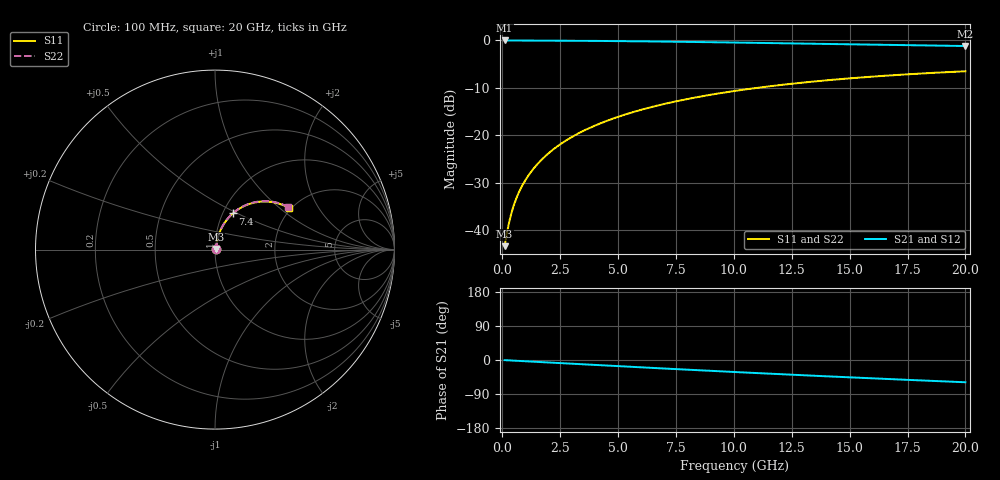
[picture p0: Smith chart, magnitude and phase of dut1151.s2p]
! Touchstone file exported from HFSS 2026.1.0
!  File:  C:/ffzhzh/LocalFiles/Ansys_Project_Files/temp_train_BSMRDL_1151_1783175642_18472.aedt
!  Generated:  10:35:33 PM Jul  4, 2026
!  Design:  BSMRDL
!  Project:  temp_train_BSMRDL_1151_1783175642_18472
! Variables:
!  h_bsmrdl = 2.23um
!  h_ox = 20um
!  h_rdl = 5um
!  h_sub = 80um
!  h_tmrdl = 5um
!  h_tsv = 80um
!  h_via = 3um
!  l_bsmrdl = 911.25um
!  l_sub = 1311.25um
!  l_tmrdl = 200um
!  m_sub = 200um
!  pitch = 52.56um
!  r_tsv = 6um
!  s_tmrdl = 10um
!  w_bsmrdl = 26.22um
!  w_sub = 500um
!  w_tmrdl = 12um
!  x_tsv_center1 = 206um
!  x_tsv_center2 = 1143.47um
!  x_tsv_center3 = 1355.47um
!  x_tsv_center4 = 2292.94um
!  x_tsv_center5 = 2504.94um
!  x_tsv_center6 = 3442.41um
# GHz S MA R 50.000000
! Terminal data exported
! Port[1] = BSM_RDL1_1_T1
! Port[2] = BSM_RDL1_1_T2
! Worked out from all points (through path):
!   200 points, 100 MHz to 20 GHz, reference 50 ohm
!   highest |S21| = -0.05 dB at 100 MHz (marker M1); lowest = -1.2 dB at 20 GHz (marker M2)
!   group delay of S21, straight-line fit = 8.17 ps
!   lowest |S11| = -43.3 dB at 100 MHz (marker M3), VSWR 1.01, Z = 50.6 + j0.363 ohm
!   |S11| at or under -10 dB: start of sweep to 11.03 GHz
!   |S22| runs from -43.3 to -6.5 dB; largest |S21 - S12| = 9.1e-15
!   S11 on the Smith chart (normalised r, x): 100 MHz: 1.01, +0.01; 7.4 GHz: 1.12, +0.47; 20 GHz: 1.94, +1.16
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0.1  0.006829 31.7  0.9942 -0.4  0.9942 -0.4  0.006829 31.7
! Gamma 0 0 0 0
! Port Impedance 50 0 50 0
0.2  0.009345 49.4  0.994 -0.7  0.994 -0.7  0.009345 49.4
0.3  0.01232 58.4  0.9937 -1.0  0.9937 -1.0  0.01232 58.4
0.4  0.0154 63.5  0.9934 -1.4  0.9934 -1.4  0.0154 63.5
0.5  0.01849 66.7  0.9931 -1.7  0.9931 -1.7  0.01849 66.7
0.6  0.02157 69.0  0.9928 -2.0  0.9928 -2.0  0.02156 69.0
0.8  0.0277 71.9  0.9923 -2.7  0.9923 -2.7  0.0277 71.9
1.1  0.03691 74.4  0.9917 -3.7  0.9917 -3.7  0.03691 74.4
1.3  0.04309 75.3  0.9913 -4.3  0.9913 -4.3  0.04308 75.3
1.6  0.05238 76.0  0.9907 -5.3  0.9907 -5.3  0.05238 76.0
2.1  0.06793 76.2  0.9896 -6.9  0.9896 -6.9  0.06793 76.3
2.7  0.08657 75.6  0.988 -8.8  0.988 -8.8  0.08656 75.7
3.5  0.1112 74.2  0.9853 -11.4  0.9853 -11.4  0.1112 74.3
4.2  0.1325 72.5  0.9825 -13.7  0.9825 -13.7  0.1325 72.6
5  0.1565 70.4  0.9788 -16.2  0.9788 -16.2  0.1564 70.6
6.8  0.2083 65.4  0.9686 -21.9  0.9686 -21.9  0.2083 65.6
7.4  0.2248 63.7  0.9647 -23.7  0.9647 -23.7  0.2248 63.9
8.7  0.2594 59.9  0.9557 -27.7  0.9557 -27.7  0.2593 60.2
10.1  0.2943 55.9  0.9451 -31.9  0.9451 -31.9  0.2943 56.2
13.4  0.3669 46.7  0.9186 -41.4  0.9186 -41.4  0.3669 47.1
16.7  0.4258 37.9  0.8925 -50.3  0.8925 -50.3  0.4257 38.4
20  0.4715 29.5  0.8691 -58.7  0.8691 -58.7  0.4715 30.1
